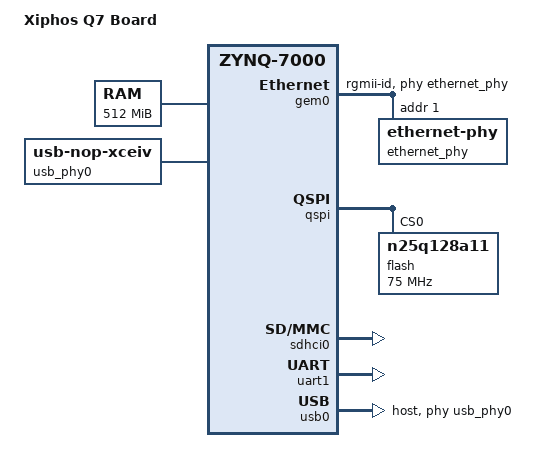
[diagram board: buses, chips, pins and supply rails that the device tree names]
/*
 * Xiphos Q7 board DTS
 *
 *  Copyright (C) 2011 - 2015 Xilinx
 *  Copyright (C) 2012 National Instruments Corp.
 *  Copyright (C) 2016 Xiphos
 *
 * SPDX-License-Identifier:	GPL-2.0+
 */
/dts-v1/;
#include "zynq-7000.dtsi"

/ {
	model = "Xiphos Q7 Board";
	compatible = "xlnx,zynq-zed", "xlnx,zynq-7000";

	aliases {
		ethernet0 = &gem0;
		serial0 = &uart0;
		serial1 = &uart1;
		spi0 = &qspi;
		mmc0 = &sdhci0;
		mmc1 = &sdhci1;
	};

	memory {
		device_type = "memory";
		reg = <0x0 0x20000000>;
	};

	chosen {
		bootargs = "earlyprintk";
		stdout-path = "serial0:115200n8";
	};

	usb_phy0: phy0 {
		compatible = "usb-nop-xceiv";
		#phy-cells = <0>;
	};
};

&clkc {
	ps-clk-frequency = <33333333>;
};

&gem0 {
	status = "okay";
	phy-mode = "rgmii-id";
	phy-handle = <&ethernet_phy>;

	ethernet_phy: ethernet-phy@0 {
		reg = <1>;
	};
};

&qspi {
	status = "okay";
	is-dual = <0>;
	num-cs = <2>;
	flash@0 {
		compatible = "n25q128a11";
		reg = <0x0>;
		spi-tx-bus-width = <1>;
		spi-rx-bus-width = <4>;
		spi-max-frequency = <75000000>;
		#address-cells = <1>;
	};
};

&sdhci0 {
	u-boot,dm-pre-reloc;
	status = "okay";
};

&uart1 {
	u-boot,dm-pre-reloc;
	status = "okay";
};

&qspi {
	status = "okay";
};

&usb0 {
	status = "okay";
	dr_mode = "host";
	usb-phy = <&usb_phy0>;
};
